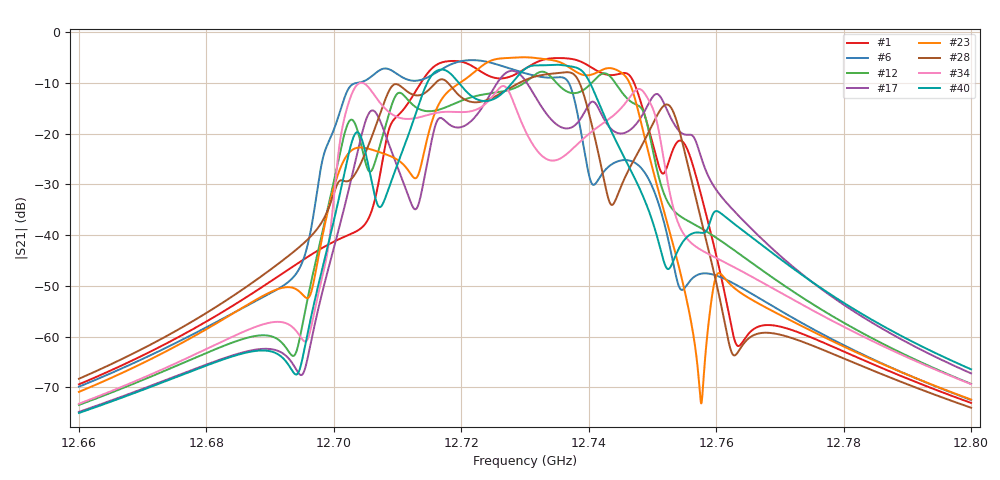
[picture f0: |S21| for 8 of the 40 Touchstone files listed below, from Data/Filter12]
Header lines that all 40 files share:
! TOUCHSTONE file generated by CST MICROWAVE STUDIO
! Project name: WaveGuide_BPF-Ver4.1_U-shape_Ku_T3_C4_CWA_2.cst
! Header version: 2018
! Port assignment regex: !\s*Touchstone port\s*([0-9]+)\s*=\s*(CST MWS port|CST DS port)\s*([0-9]+|Zmin|Zmax)\s*\(\"(.*)\"\)(\s*mode\s*([0-9]+))?.*
! Touchstone port assignment:
! Touchstone port 1 = CST MWS port 1 ("")
! Touchstone port 2 = CST MWS port 2 ("")
# GHz S RI R 50
Fixed: cavity_h = 16, cavity_l0 = 10, cavity_r = 2.5, cavity_screw_l = 0.5, cavity_screw_r = 1.5, cavity_w = 8, iris_h00 = 0, iris_h112 = 0, iris_rx = 0.1, iris_screw_l = 0.5, iris_screw_r = 1.5, iris_shift00 = 0, iris_shift112 = 0, iris_shift211 = 3.5, iris_shift310 = 0, iris_shift49 = 0, iris_shift58 = 3.5, iris_shift67 = 3.5, iris_tx = 4.5, iris_tz = 4.5, iris_w00 = 0, iris_w112 = 0, iris_w211 = 4, iris_w58 = 4, iris_w67 = 4, mesh_cavity = 5, mesh_iris = 7, mesh_screw = 7, order = 12, reset_all = 0, sigma = 4.8e+07
Also varied, not listed: iris_h45, iris_h49, iris_h56, iris_h58, iris_h67, iris_w310, iris_w49
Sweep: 12.66 GHz to 12.8 GHz
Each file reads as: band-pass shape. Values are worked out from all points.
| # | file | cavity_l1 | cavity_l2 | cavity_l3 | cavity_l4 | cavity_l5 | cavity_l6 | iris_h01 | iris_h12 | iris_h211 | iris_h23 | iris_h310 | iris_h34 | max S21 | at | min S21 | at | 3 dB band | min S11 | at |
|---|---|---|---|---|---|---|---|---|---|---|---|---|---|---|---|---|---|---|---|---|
| 1 | 081_Sprms.s2p | 15.2235 | 16.851 | 17.0829 | 17.262 | 17.1251 | 17.6036 | 8.8042 | 5.6123 | 3.6573 | 5.2043 | 3.9789 | 5.0732 | -5.05 dB | 12.735 GHz | -73.1 dB | 12.8 GHz | 12.729 GHz-12.742 GHz | -22.5 dB | 12.737 GHz |
| 2 | 082_Sprms.s2p | 15.2049 | 16.8635 | 17.0988 | 17.2505 | 17.1494 | 17.611 | 8.8206 | 5.6133 | 3.659 | 5.1901 | 3.9703 | 5.0809 | -6.56 dB | 12.721 GHz | -73.3 dB | 12.8 GHz | 12.713 GHz-12.738 GHz | -35.6 dB | 12.752 GHz |
| 3 | 083_Sprms.s2p | 15.2022 | 16.8494 | 17.1328 | 17.2493 | 17.1299 | 17.6241 | 8.8408 | 5.603 | 3.6515 | 5.2056 | 3.9741 | 5.0752 | -6.13 dB | 12.727 GHz | -72.8 dB | 12.8 GHz | 12.72 GHz-12.731 GHz | -29.5 dB | 12.75 GHz |
| 4 | 084_Sprms.s2p | 15.2301 | 16.8468 | 17.0774 | 17.2452 | 17.119 | 17.5733 | 8.8265 | 5.6128 | 3.6642 | 5.1986 | 3.9759 | 5.0853 | -5.08 dB | 12.725 GHz | -73.7 dB | 12.8 GHz | 12.718 GHz-12.744 GHz | -34.7 dB | 12.724 GHz |
| 5 | 085_Sprms.s2p | 15.1821 | 16.8494 | 17.0866 | 17.3051 | 17.1638 | 17.6294 | 8.8251 | 5.5953 | 3.6622 | 5.2037 | 3.964 | 5.0822 | -5.95 dB | 12.723 GHz | -72.4 dB | 12.66 GHz | 12.719 GHz-12.729 GHz | -13.6 dB | 12.722 GHz |
| 6 | 086_Sprms.s2p | 15.2179 | 16.8434 | 17.102 | 17.2985 | 17.1689 | 17.6335 | 8.8187 | 5.6112 | 3.6532 | 5.2039 | 3.9622 | 5.0734 | -5.46 dB | 12.722 GHz | -72.5 dB | 12.8 GHz | 12.715 GHz-12.731 GHz | -17.5 dB | 12.721 GHz |
| 7 | 087_Sprms.s2p | 15.2177 | 16.8072 | 17.0895 | 17.2585 | 17.1401 | 17.5796 | 8.8234 | 5.586 | 3.6548 | 5.2046 | 3.9724 | 5.0689 | -5.89 dB | 12.725 GHz | -74.1 dB | 12.66 GHz | 12.719 GHz-12.732 GHz | -15.4 dB | 12.744 GHz |
| 8 | 088_Sprms.s2p | 15.1893 | 16.8609 | 17.1289 | 17.2656 | 17.0976 | 17.6178 | 8.8381 | 5.5995 | 3.6565 | 5.1885 | 3.9605 | 5.0674 | -5.50 dB | 12.733 GHz | -72.3 dB | 12.8 GHz | 12.726 GHz-12.741 GHz | -25.0 dB | 12.733 GHz |
| 9 | 089_Sprms.s2p | 15.2036 | 16.8842 | 17.1451 | 17.273 | 17.1392 | 17.5838 | 8.8145 | 5.5901 | 3.6514 | 5.1928 | 3.9608 | 5.0721 | -5.00 dB | 12.722 GHz | -74.2 dB | 12.8 GHz | 12.711 GHz-12.73 GHz | -32.4 dB | 12.721 GHz |
| 10 | 090_Sprms.s2p | 15.1662 | 16.8302 | 17.0742 | 17.2665 | 17.1191 | 17.5779 | 8.808 | 5.5948 | 3.6545 | 5.1914 | 3.9624 | 5.0798 | -5.60 dB | 12.722 GHz | -76.2 dB | 12.66 GHz | 12.717 GHz-12.727 GHz | -29.2 dB | 12.713 GHz |
| 11 | 091_Sprms.s2p | 15.1645 | 16.8821 | 17.0809 | 17.2475 | 17.1712 | 17.5689 | 8.8166 | 5.5908 | 3.6521 | 5.2111 | 3.9763 | 5.083 | -6.97 dB | 12.732 GHz | -71.8 dB | 12.8 GHz | 12.728 GHz-12.735 GHz | -15.0 dB | 12.753 GHz |
| 12 | 092_Sprms.s2p | 15.2007 | 16.8295 | 17.1207 | 17.3097 | 17.1108 | 17.6123 | 8.81 | 5.6026 | 3.6509 | 5.2004 | 3.9676 | 5.0704 | -7.74 dB | 12.733 GHz | -73.5 dB | 12.66 GHz | 12.729 GHz-12.736 GHz | -13.6 dB | 12.703 GHz |
| 13 | 093_Sprms.s2p | 15.2196 | 16.875 | 17.0928 | 17.2401 | 17.1468 | 17.6011 | 8.8176 | 5.6044 | 3.6625 | 5.2045 | 3.9646 | 5.0707 | -7.58 dB | 12.724 GHz | -75.0 dB | 12.8 GHz | 12.715 GHz-12.737 GHz | -11.5 dB | 12.755 GHz |
| 14 | 094_Sprms.s2p | 15.2314 | 16.8386 | 17.1439 | 17.2986 | 17.1321 | 17.6269 | 8.8256 | 5.5958 | 3.6655 | 5.2044 | 3.9674 | 5.0753 | -6.06 dB | 12.72 GHz | -72.5 dB | 12.8 GHz | 12.717 GHz-12.725 GHz | -32.1 dB | 12.72 GHz |
| 15 | 095_Sprms.s2p | 15.1703 | 16.8351 | 17.1438 | 17.227 | 17.1028 | 17.5774 | 8.8215 | 5.5875 | 3.6581 | 5.1891 | 3.9635 | 5.0695 | -7.49 dB | 12.735 GHz | -75.4 dB | 12.66 GHz | 12.729 GHz-12.738 GHz | -16.0 dB | 12.706 GHz |
| 16 | 096_Sprms.s2p | 15.2036 | 16.8186 | 17.1157 | 17.2529 | 17.1453 | 17.5694 | 8.8149 | 5.5873 | 3.6557 | 5.1929 | 3.9755 | 5.0777 | -6.25 dB | 12.718 GHz | -74.9 dB | 12.66 GHz | 12.715 GHz-12.722 GHz | -23.6 dB | 12.71 GHz |
| 17 | 097_Sprms.s2p | 15.1961 | 16.8109 | 17.1342 | 17.2889 | 17.0906 | 17.5918 | 8.8365 | 5.5876 | 3.656 | 5.1944 | 3.9666 | 5.0745 | -7.57 dB | 12.728 GHz | -74.9 dB | 12.66 GHz | 12.725 GHz-12.731 GHz | -21.9 dB | 12.728 GHz |
| 18 | 098_Sprms.s2p | 15.1613 | 16.8263 | 17.095 | 17.2799 | 17.1021 | 17.5958 | 8.8112 | 5.588 | 3.6639 | 5.2108 | 3.9663 | 5.0833 | -5.62 dB | 12.746 GHz | -76.7 dB | 12.66 GHz | 12.735 GHz-12.751 GHz | -22.6 dB | 12.709 GHz |
| 19 | 099_Sprms.s2p | 15.186 | 16.8614 | 17.1147 | 17.2388 | 17.0902 | 17.623 | 8.8156 | 5.5864 | 3.6544 | 5.193 | 3.9745 | 5.0729 | -6.63 dB | 12.729 GHz | -72.6 dB | 12.66 GHz | 12.725 GHz-12.735 GHz | -23.9 dB | 12.742 GHz |
| 20 | 100_Sprms.s2p | 15.1727 | 16.8662 | 17.1449 | 17.3064 | 17.1621 | 17.5654 | 8.8208 | 5.6133 | 3.6615 | 5.1935 | 3.9717 | 5.0839 | -6.61 dB | 12.733 GHz | -71.1 dB | 12.8 GHz | 12.718 GHz-12.737 GHz | -30.6 dB | 12.697 GHz |
| 21 | 101_Sprms.s2p | 15.2208 | 16.8587 | 17.1085 | 17.2711 | 17.1582 | 17.5584 | 8.8007 | 5.6066 | 3.6554 | 5.2046 | 3.9755 | 5.0722 | -6.54 dB | 12.733 GHz | -73.3 dB | 12.8 GHz | 12.727 GHz-12.737 GHz | -16.6 dB | 12.711 GHz |
| 22 | 102_Sprms.s2p | 15.1841 | 16.8011 | 17.1405 | 17.2459 | 17.0964 | 17.6091 | 8.8082 | 5.6071 | 3.668 | 5.2039 | 3.9672 | 5.0697 | -7.63 dB | 12.734 GHz | -76.2 dB | 12.66 GHz | 12.729 GHz-12.742 GHz | -43.7 dB | 12.707 GHz |
| 23 | 103_Sprms.s2p | 15.2006 | 16.8713 | 17.1222 | 17.2742 | 17.1214 | 17.5565 | 8.8032 | 5.5869 | 3.6612 | 5.2053 | 3.9637 | 5.0906 | -4.90 dB | 12.73 GHz | -73.2 dB | 12.758 GHz | 12.722 GHz-12.738 GHz | -20.3 dB | 12.73 GHz |
| 24 | 104_Sprms.s2p | 15.173 | 16.878 | 17.102 | 17.3033 | 17.0966 | 17.5659 | 8.8023 | 5.5893 | 3.6669 | 5.2088 | 3.9715 | 5.0815 | -7.18 dB | 12.74 GHz | -71.8 dB | 12.66 GHz | 12.737 GHz-12.746 GHz | -34.8 dB | 12.739 GHz |
| 25 | 105_Sprms.s2p | 15.2061 | 16.8652 | 17.1153 | 17.3016 | 17.1353 | 17.615 | 8.8372 | 5.5933 | 3.669 | 5.2059 | 3.9697 | 5.0779 | -5.46 dB | 12.733 GHz | -73.7 dB | 12.8 GHz | 12.725 GHz-12.743 GHz | -18.8 dB | 12.733 GHz |
| 26 | 106_Sprms.s2p | 15.1804 | 16.8039 | 17.1365 | 17.2659 | 17.1676 | 17.5993 | 8.7994 | 5.611 | 3.6682 | 5.1875 | 3.9684 | 5.0701 | -6.52 dB | 12.74 GHz | -103.5 dB | 12.699 GHz | 12.737 GHz-12.743 GHz | -42.9 dB | 12.74 GHz |
| 27 | 107_Sprms.s2p | 15.2101 | 16.8321 | 17.0776 | 17.2625 | 17.1082 | 17.6016 | 8.835 | 5.6132 | 3.6596 | 5.2022 | 3.9664 | 5.0813 | -5.22 dB | 12.736 GHz | -71.5 dB | 12.8 GHz | 12.73 GHz-12.75 GHz | -18.0 dB | 12.736 GHz |
| 28 | 108_Sprms.s2p | 15.2128 | 16.8596 | 17.0945 | 17.2511 | 17.1711 | 17.625 | 8.8203 | 5.6138 | 3.6531 | 5.2109 | 3.9794 | 5.0701 | -7.84 dB | 12.737 GHz | -74.1 dB | 12.8 GHz | 12.728 GHz-12.739 GHz | -24.9 dB | 12.753 GHz |
| 29 | 109_Sprms.s2p | 15.2173 | 16.8617 | 17.1455 | 17.229 | 17.1162 | 17.6237 | 8.803 | 5.5957 | 3.652 | 5.1894 | 3.9652 | 5.0733 | -7.46 dB | 12.732 GHz | -72.8 dB | 12.8 GHz | 12.724 GHz-12.736 GHz | -9.6 dB | 12.732 GHz |
| 30 | 110_Sprms.s2p | 15.1946 | 16.8192 | 17.095 | 17.2893 | 17.1041 | 17.5981 | 8.8196 | 5.5942 | 3.6579 | 5.2014 | 3.9713 | 5.0708 | -6.12 dB | 12.736 GHz | -74.6 dB | 12.66 GHz | 12.731 GHz-12.749 GHz | -15.3 dB | 12.71 GHz |
| 31 | 111_Sprms.s2p | 15.1668 | 16.823 | 17.117 | 17.2356 | 17.1433 | 17.5782 | 8.8244 | 5.5912 | 3.6611 | 5.2112 | 3.9671 | 5.0756 | -6.44 dB | 12.749 GHz | -75.8 dB | 12.66 GHz | 12.714 GHz-12.721 GHz | -26.0 dB | 12.75 GHz |
| 32 | 112_Sprms.s2p | 15.1778 | 16.857 | 17.1377 | 17.255 | 17.1696 | 17.5644 | 8.8019 | 5.6068 | 3.6677 | 5.1922 | 3.9663 | 5.0761 | -7.81 dB | 12.711 GHz | -72.7 dB | 12.66 GHz | 12.709 GHz-12.713 GHz | -20.5 dB | 12.745 GHz |
| 33 | 113_Sprms.s2p | 15.2298 | 16.8405 | 17.1458 | 17.2584 | 17.1396 | 17.6319 | 8.8411 | 5.6061 | 3.6679 | 5.2007 | 3.9603 | 5.0909 | -7.82 dB | 12.734 GHz | -73.2 dB | 12.8 GHz | 12.718 GHz-12.725 GHz | -15.0 dB | 12.702 GHz |
| 34 | 114_Sprms.s2p | 15.172 | 16.8528 | 17.1165 | 17.3007 | 17.0917 | 17.6393 | 8.8267 | 5.5913 | 3.6659 | 5.1903 | 3.9733 | 5.0899 | -9.92 dB | 12.704 GHz | -73.3 dB | 12.66 GHz | 12.703 GHz-12.707 GHz | -18.3 dB | 12.704 GHz |
| 35 | 115_Sprms.s2p | 15.2232 | 16.8202 | 17.0699 | 17.2261 | 17.1183 | 17.6368 | 8.8183 | 5.5982 | 3.6542 | 5.2065 | 3.9777 | 5.0874 | -5.00 dB | 12.733 GHz | -72.2 dB | 12.66 GHz | 12.72 GHz-12.739 GHz | -40.4 dB | 12.725 GHz |
| 36 | 116_Sprms.s2p | 15.2013 | 16.8152 | 17.0637 | 17.2971 | 17.1005 | 17.6101 | 8.836 | 5.5873 | 3.658 | 5.1952 | 3.9684 | 5.0692 | -7.75 dB | 12.746 GHz | -74.0 dB | 12.66 GHz | 12.744 GHz-12.751 GHz | -9.0 dB | 12.734 GHz |
| 37 | 117_Sprms.s2p | 15.2361 | 16.8702 | 17.1135 | 17.2491 | 17.1061 | 17.5619 | 8.8095 | 5.6044 | 3.6676 | 5.1919 | 3.9771 | 5.078 | -5.29 dB | 12.727 GHz | -75.0 dB | 12.8 GHz | 12.72 GHz-12.741 GHz | -19.2 dB | 12.738 GHz |
| 38 | 118_Sprms.s2p | 15.1663 | 16.8649 | 17.1091 | 17.2458 | 17.0907 | 17.5605 | 8.8343 | 5.6079 | 3.6606 | 5.2125 | 3.9789 | 5.0774 | -5.67 dB | 12.738 GHz | -71.6 dB | 12.8 GHz | 12.733 GHz-12.742 GHz | -35.8 dB | 12.722 GHz |
| 39 | 119_Sprms.s2p | 15.194 | 16.879 | 17.1429 | 17.2664 | 17.1635 | 17.57 | 8.8125 | 5.6102 | 3.6591 | 5.2055 | 3.9675 | 5.0778 | -7.45 dB | 12.711 GHz | -73.6 dB | 12.8 GHz | 12.709 GHz-12.715 GHz | -19.7 dB | 12.71 GHz |
| 40 | 120_Sprms.s2p | 15.1685 | 16.8094 | 17.1244 | 17.2872 | 17.1542 | 17.5567 | 8.8395 | 5.608 | 3.6561 | 5.2085 | 3.9641 | 5.092 | -6.37 dB | 12.735 GHz | -75.1 dB | 12.66 GHz | 12.728 GHz-12.74 GHz | -18.6 dB | 12.716 GHz |
